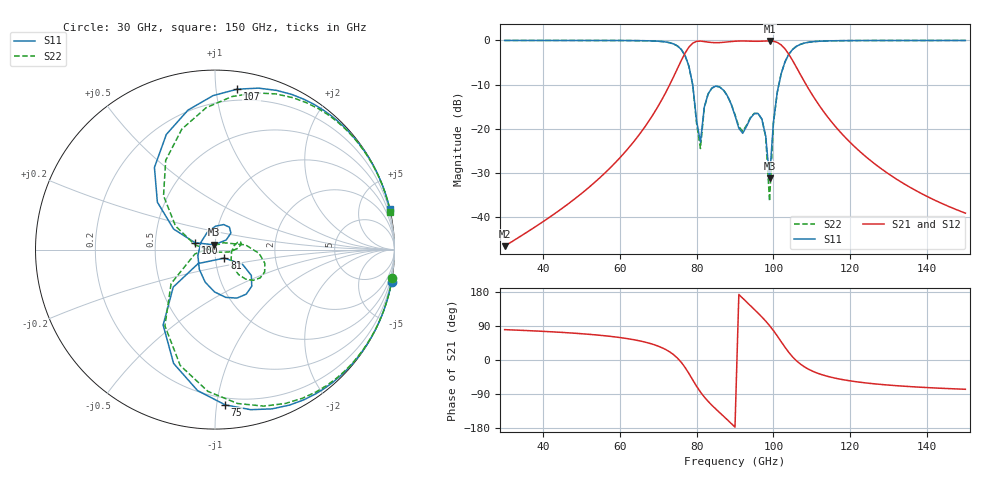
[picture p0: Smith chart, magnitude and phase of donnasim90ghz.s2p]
# GHZ S MA R 10.00000
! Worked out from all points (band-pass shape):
!   121 points, 30 GHz to 150 GHz, reference 10 ohm
!   highest |S21| = -0.11 dB at 99 GHz (marker M1); lowest = -46.7 dB at 30 GHz (marker M2)
!   |S21| within 3 dB of the highest: 76.86 GHz to 104 GHz (27.15 GHz wide, 30 % of centre)
!   lowest |S11| = -31.3 dB at 99 GHz (marker M3), VSWR 1.06, Z = 9.89 + j0.529 ohm
!   |S11| at or under -10 dB: 78.98 GHz to 101.4 GHz (22.45 GHz wide, 24.9 % of centre)
!   |S22| runs from -36.5 to 0.0 dB; largest |S21 - S12| = 2.1e-12
!   S11 on the Smith chart (normalised r, x): 30 GHz: 0, -11; 75 GHz: 0.15, -1.06; 81 GHz: 1.10, -0.10; 100 GHz: 0.80, +0.06; 107 GHz: 0.12, +1.14; 150 GHz: 0.02, +8.79
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30  0.9998 -10.3  0.004635 80.1  0.004635 80.1  0.9998 -9.1
50  0.9993 -21.6  0.01831 69.4  0.01831 69.4  0.9993 -19.1
70  0.9801 -55.2  0.18 36.6  0.18 36.6  0.9801 -50.5
75  0.8671 -86.2  0.4788 5.1  0.4788 5.1  0.8668 -81.6
78  0.51 -124.5  0.8412 -35.6  0.8412 -35.6  0.5082 -123.3
81  0.0702 -42.3  0.9835 -84.5  0.9835 -84.5  0.05944 40.2
82  0.175 -28.3  0.9722 -97.6  0.9722 -97.6  0.1722 8.7
84  0.2889 -44.8  0.9469 -119.6  0.9469 -119.6  0.2885 -15.4
87  0.2727 -77.4  0.9524 -148.2  0.9524 -148.2  0.2737 -38.7
90  0.1407 -128.4  0.9802 -177.1  0.9802 -177.1  0.144 -44.3
92  0.08839 153.2  0.9862 163.1  0.9862 163.1  0.09308 -7.1
95  0.1477 70.9  0.9791 133.7  0.9791 133.7  0.1489 16.6
97  0.128 46.1  0.9811 113.5  0.9811 113.5  0.1276 3.2
98  0.08221 40.6  0.9853 102.6  0.9853 102.6  0.08025 -9.6
99  0.0272 100.6  0.9872 90.8  0.9872 90.8  0.015 -99.8
100  0.1167 161.0  0.9795 77.8  0.9795 77.8  0.1139 166.6
103  0.5686 126.4  0.805 33.9  0.805 33.9  0.5683 118.9
107  0.9023 82.1  0.4129 -10.5  0.4129 -10.5  0.9024 75.4
110  0.9643 63.7  0.2464 -28.6  0.2464 -28.6  0.9645 58.0
117  0.9933 41.8  0.09571 -49.8  0.09571 -49.8  0.9935 37.8
130  0.9986 24.7  0.03061 -66.2  0.03061 -66.2  0.9987 22.4
150  0.9994 13.0  0.01098 -77.3  0.01098 -77.3  0.9995 12.2
